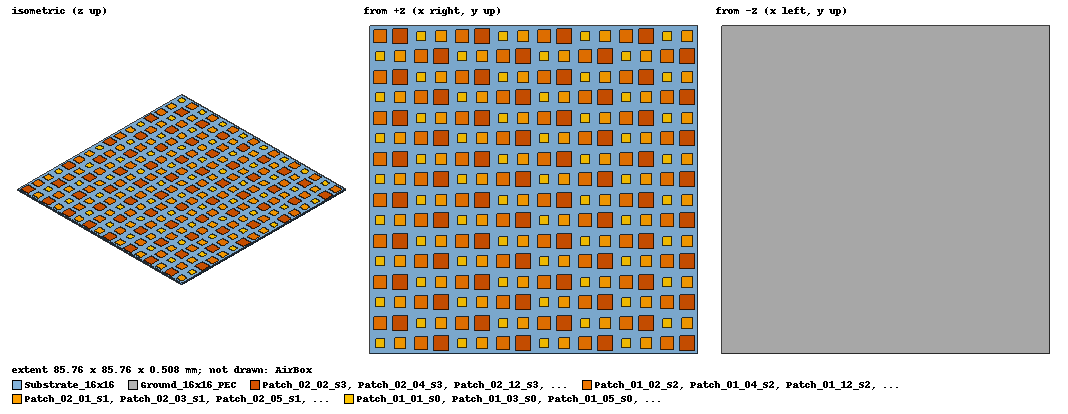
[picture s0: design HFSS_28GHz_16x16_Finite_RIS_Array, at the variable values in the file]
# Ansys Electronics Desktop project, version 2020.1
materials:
  vacuum: permittivity=1
  air: permittivity=1.0006 permeability=1.0000004
  Rogers RT/duroid 5880 (tm): permittivity=2.2 dielectric_loss_tangent=0.0009
  copper: permeability=0.999991 conductivity=58000000

design HFSS_28GHz_16x16_Finite_RIS_Array (HFSS, DrivenModal, model units mm)
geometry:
  AirBox [air] = box(corner=(-52.88mm, -52.88mm, -8.508mm), size=(105.76mm, 105.76mm, 43.508mm))
  Substrate_16x16 [Rogers RT/duroid 5880 (tm)] = box(corner=(-42.88mm, -42.88mm, -0.508mm), size=(85.76mm, 85.76mm, 0.508mm))
  Ground_16x16_PEC [copper] = rectangle(corner=(-42.88mm, -42.88mm, -0.508mm), x_size=85.76mm, y_size=85.76mm)
  Patch_01_01_S0 [copper] = rectangle(corner=(-41.425mm, -41.425mm, 0mm), x_size=2.45mm, y_size=2.45mm)
  Patch_01_02_S2 [copper] = rectangle(corner=(-41.925mm, -36.565mm, 0mm), x_size=3.45mm, y_size=3.45mm)
  Patch_01_03_S0 [copper] = rectangle(corner=(-41.425mm, -30.705mm, 0mm), x_size=2.45mm, y_size=2.45mm)
  Patch_01_04_S2 [copper] = rectangle(corner=(-41.925mm, -25.845mm, 0mm), x_size=3.45mm, y_size=3.45mm)
  Patch_01_05_S0 [copper] = rectangle(corner=(-41.425mm, -19.985mm, 0mm), x_size=2.45mm, y_size=2.45mm)
  Patch_01_06_S2 [copper] = rectangle(corner=(-41.925mm, -15.125mm, 0mm), x_size=3.45mm, y_size=3.45mm)
  Patch_01_07_S0 [copper] = rectangle(corner=(-41.425mm, -9.265mm, 0mm), x_size=2.45mm, y_size=2.45mm)
  Patch_01_08_S2 [copper] = rectangle(corner=(-41.925mm, -4.405mm, 0mm), x_size=3.45mm, y_size=3.45mm)
  Patch_01_09_S0 [copper] = rectangle(corner=(-41.425mm, 1.455mm, 0mm), x_size=2.45mm, y_size=2.45mm)
  Patch_01_10_S2 [copper] = rectangle(corner=(-41.925mm, 6.315mm, 0mm), x_size=3.45mm, y_size=3.45mm)
  Patch_01_11_S0 [copper] = rectangle(corner=(-41.425mm, 12.175mm, 0mm), x_size=2.45mm, y_size=2.45mm)
  Patch_01_12_S2 [copper] = rectangle(corner=(-41.925mm, 17.035mm, 0mm), x_size=3.45mm, y_size=3.45mm)
  Patch_01_13_S0 [copper] = rectangle(corner=(-41.425mm, 22.895mm, 0mm), x_size=2.45mm, y_size=2.45mm)
  Patch_01_14_S2 [copper] = rectangle(corner=(-41.925mm, 27.755mm, 0mm), x_size=3.45mm, y_size=3.45mm)
  Patch_01_15_S0 [copper] = rectangle(corner=(-41.425mm, 33.615mm, 0mm), x_size=2.45mm, y_size=2.45mm)
  Patch_01_16_S2 [copper] = rectangle(corner=(-41.925mm, 38.475mm, 0mm), x_size=3.45mm, y_size=3.45mm)
  Patch_02_01_S1 [copper] = rectangle(corner=(-36.315mm, -41.675mm, 0mm), x_size=2.95mm, y_size=2.95mm)
  Patch_02_02_S3 [copper] = rectangle(corner=(-36.815mm, -36.815mm, 0mm), x_size=3.95mm, y_size=3.95mm)
  Patch_02_03_S1 [copper] = rectangle(corner=(-36.315mm, -30.955mm, 0mm), x_size=2.95mm, y_size=2.95mm)
  Patch_02_04_S3 [copper] = rectangle(corner=(-36.815mm, -26.095mm, 0mm), x_size=3.95mm, y_size=3.95mm)
  Patch_02_05_S1 [copper] = rectangle(corner=(-36.315mm, -20.235mm, 0mm), x_size=2.95mm, y_size=2.95mm)
  Patch_02_06_S3 [copper] = rectangle(corner=(-36.815mm, -15.375mm, 0mm), x_size=3.95mm, y_size=3.95mm)
  Patch_02_07_S1 [copper] = rectangle(corner=(-36.315mm, -9.515mm, 0mm), x_size=2.95mm, y_size=2.95mm)
  Patch_02_08_S3 [copper] = rectangle(corner=(-36.815mm, -4.655mm, 0mm), x_size=3.95mm, y_size=3.95mm)
  Patch_02_09_S1 [copper] = rectangle(corner=(-36.315mm, 1.205mm, 0mm), x_size=2.95mm, y_size=2.95mm)
  Patch_02_10_S3 [copper] = rectangle(corner=(-36.815mm, 6.065mm, 0mm), x_size=3.95mm, y_size=3.95mm)
  Patch_02_11_S1 [copper] = rectangle(corner=(-36.315mm, 11.925mm, 0mm), x_size=2.95mm, y_size=2.95mm)
  Patch_02_12_S3 [copper] = rectangle(corner=(-36.815mm, 16.785mm, 0mm), x_size=3.95mm, y_size=3.95mm)
  Patch_02_13_S1 [copper] = rectangle(corner=(-36.315mm, 22.645mm, 0mm), x_size=2.95mm, y_size=2.95mm)
  Patch_02_14_S3 [copper] = rectangle(corner=(-36.815mm, 27.505mm, 0mm), x_size=3.95mm, y_size=3.95mm)
  Patch_02_15_S1 [copper] = rectangle(corner=(-36.315mm, 33.365mm, 0mm), x_size=2.95mm, y_size=2.95mm)
  Patch_02_16_S3 [copper] = rectangle(corner=(-36.815mm, 38.225mm, 0mm), x_size=3.95mm, y_size=3.95mm)
  Patch_03_01_S2 [copper] = rectangle(corner=(-31.205mm, -41.925mm, 0mm), x_size=3.45mm, y_size=3.45mm)
  Patch_03_02_S0 [copper] = rectangle(corner=(-30.705mm, -36.065mm, 0mm), x_size=2.45mm, y_size=2.45mm)
  Patch_03_03_S2 [copper] = rectangle(corner=(-31.205mm, -31.205mm, 0mm), x_size=3.45mm, y_size=3.45mm)
  Patch_03_04_S0 [copper] = rectangle(corner=(-30.705mm, -25.345mm, 0mm), x_size=2.45mm, y_size=2.45mm)
  Patch_03_05_S2 [copper] = rectangle(corner=(-31.205mm, -20.485mm, 0mm), x_size=3.45mm, y_size=3.45mm)
  Patch_03_06_S0 [copper] = rectangle(corner=(-30.705mm, -14.625mm, 0mm), x_size=2.45mm, y_size=2.45mm)
  Patch_03_07_S2 [copper] = rectangle(corner=(-31.205mm, -9.765mm, 0mm), x_size=3.45mm, y_size=3.45mm)
  Patch_03_08_S0 [copper] = rectangle(corner=(-30.705mm, -3.905mm, 0mm), x_size=2.45mm, y_size=2.45mm)
  Patch_03_09_S2 [copper] = rectangle(corner=(-31.205mm, 0.955mm, 0mm), x_size=3.45mm, y_size=3.45mm)
  Patch_03_10_S0 [copper] = rectangle(corner=(-30.705mm, 6.815mm, 0mm), x_size=2.45mm, y_size=2.45mm)
  Patch_03_11_S2 [copper] = rectangle(corner=(-31.205mm, 11.675mm, 0mm), x_size=3.45mm, y_size=3.45mm)
  Patch_03_12_S0 [copper] = rectangle(corner=(-30.705mm, 17.535mm, 0mm), x_size=2.45mm, y_size=2.45mm)
  Patch_03_13_S2 [copper] = rectangle(corner=(-31.205mm, 22.395mm, 0mm), x_size=3.45mm, y_size=3.45mm)
  Patch_03_14_S0 [copper] = rectangle(corner=(-30.705mm, 28.255mm, 0mm), x_size=2.45mm, y_size=2.45mm)
  Patch_03_15_S2 [copper] = rectangle(corner=(-31.205mm, 33.115mm, 0mm), x_size=3.45mm, y_size=3.45mm)
  Patch_03_16_S0 [copper] = rectangle(corner=(-30.705mm, 38.975mm, 0mm), x_size=2.45mm, y_size=2.45mm)
  Patch_04_01_S3 [copper] = rectangle(corner=(-26.095mm, -42.175mm, 0mm), x_size=3.95mm, y_size=3.95mm)
  Patch_04_02_S1 [copper] = rectangle(corner=(-25.595mm, -36.315mm, 0mm), x_size=2.95mm, y_size=2.95mm)
  Patch_04_03_S3 [copper] = rectangle(corner=(-26.095mm, -31.455mm, 0mm), x_size=3.95mm, y_size=3.95mm)
  Patch_04_04_S1 [copper] = rectangle(corner=(-25.595mm, -25.595mm, 0mm), x_size=2.95mm, y_size=2.95mm)
  Patch_04_05_S3 [copper] = rectangle(corner=(-26.095mm, -20.735mm, 0mm), x_size=3.95mm, y_size=3.95mm)
  Patch_04_06_S1 [copper] = rectangle(corner=(-25.595mm, -14.875mm, 0mm), x_size=2.95mm, y_size=2.95mm)
  Patch_04_07_S3 [copper] = rectangle(corner=(-26.095mm, -10.015mm, 0mm), x_size=3.95mm, y_size=3.95mm)
  Patch_04_08_S1 [copper] = rectangle(corner=(-25.595mm, -4.155mm, 0mm), x_size=2.95mm, y_size=2.95mm)
  Patch_04_09_S3 [copper] = rectangle(corner=(-26.095mm, 0.705mm, 0mm), x_size=3.95mm, y_size=3.95mm)
  Patch_04_10_S1 [copper] = rectangle(corner=(-25.595mm, 6.565mm, 0mm), x_size=2.95mm, y_size=2.95mm)
  Patch_04_11_S3 [copper] = rectangle(corner=(-26.095mm, 11.425mm, 0mm), x_size=3.95mm, y_size=3.95mm)
  Patch_04_12_S1 [copper] = rectangle(corner=(-25.595mm, 17.285mm, 0mm), x_size=2.95mm, y_size=2.95mm)
  Patch_04_13_S3 [copper] = rectangle(corner=(-26.095mm, 22.145mm, 0mm), x_size=3.95mm, y_size=3.95mm)
  Patch_04_14_S1 [copper] = rectangle(corner=(-25.595mm, 28.005mm, 0mm), x_size=2.95mm, y_size=2.95mm)
  Patch_04_15_S3 [copper] = rectangle(corner=(-26.095mm, 32.865mm, 0mm), x_size=3.95mm, y_size=3.95mm)
  Patch_04_16_S1 [copper] = rectangle(corner=(-25.595mm, 38.725mm, 0mm), x_size=2.95mm, y_size=2.95mm)
  Patch_05_01_S0 [copper] = rectangle(corner=(-19.985mm, -41.425mm, 0mm), x_size=2.45mm, y_size=2.45mm)
  Patch_05_02_S2 [copper] = rectangle(corner=(-20.485mm, -36.565mm, 0mm), x_size=3.45mm, y_size=3.45mm)
  Patch_05_03_S0 [copper] = rectangle(corner=(-19.985mm, -30.705mm, 0mm), x_size=2.45mm, y_size=2.45mm)
  Patch_05_04_S2 [copper] = rectangle(corner=(-20.485mm, -25.845mm, 0mm), x_size=3.45mm, y_size=3.45mm)
  Patch_05_05_S0 [copper] = rectangle(corner=(-19.985mm, -19.985mm, 0mm), x_size=2.45mm, y_size=2.45mm)
  Patch_05_06_S2 [copper] = rectangle(corner=(-20.485mm, -15.125mm, 0mm), x_size=3.45mm, y_size=3.45mm)
  Patch_05_07_S0 [copper] = rectangle(corner=(-19.985mm, -9.265mm, 0mm), x_size=2.45mm, y_size=2.45mm)
  Patch_05_08_S2 [copper] = rectangle(corner=(-20.485mm, -4.405mm, 0mm), x_size=3.45mm, y_size=3.45mm)
  Patch_05_09_S0 [copper] = rectangle(corner=(-19.985mm, 1.455mm, 0mm), x_size=2.45mm, y_size=2.45mm)
  Patch_05_10_S2 [copper] = rectangle(corner=(-20.485mm, 6.315mm, 0mm), x_size=3.45mm, y_size=3.45mm)
  Patch_05_11_S0 [copper] = rectangle(corner=(-19.985mm, 12.175mm, 0mm), x_size=2.45mm, y_size=2.45mm)
  Patch_05_12_S2 [copper] = rectangle(corner=(-20.485mm, 17.035mm, 0mm), x_size=3.45mm, y_size=3.45mm)
  Patch_05_13_S0 [copper] = rectangle(corner=(-19.985mm, 22.895mm, 0mm), x_size=2.45mm, y_size=2.45mm)
  Patch_05_14_S2 [copper] = rectangle(corner=(-20.485mm, 27.755mm, 0mm), x_size=3.45mm, y_size=3.45mm)
  Patch_05_15_S0 [copper] = rectangle(corner=(-19.985mm, 33.615mm, 0mm), x_size=2.45mm, y_size=2.45mm)
  Patch_05_16_S2 [copper] = rectangle(corner=(-20.485mm, 38.475mm, 0mm), x_size=3.45mm, y_size=3.45mm)
  Patch_06_01_S1 [copper] = rectangle(corner=(-14.875mm, -41.675mm, 0mm), x_size=2.95mm, y_size=2.95mm)
  Patch_06_02_S3 [copper] = rectangle(corner=(-15.375mm, -36.815mm, 0mm), x_size=3.95mm, y_size=3.95mm)
  Patch_06_03_S1 [copper] = rectangle(corner=(-14.875mm, -30.955mm, 0mm), x_size=2.95mm, y_size=2.95mm)
  Patch_06_04_S3 [copper] = rectangle(corner=(-15.375mm, -26.095mm, 0mm), x_size=3.95mm, y_size=3.95mm)
  Patch_06_05_S1 [copper] = rectangle(corner=(-14.875mm, -20.235mm, 0mm), x_size=2.95mm, y_size=2.95mm)
  Patch_06_06_S3 [copper] = rectangle(corner=(-15.375mm, -15.375mm, 0mm), x_size=3.95mm, y_size=3.95mm)
  Patch_06_07_S1 [copper] = rectangle(corner=(-14.875mm, -9.515mm, 0mm), x_size=2.95mm, y_size=2.95mm)
  Patch_06_08_S3 [copper] = rectangle(corner=(-15.375mm, -4.655mm, 0mm), x_size=3.95mm, y_size=3.95mm)
  Patch_06_09_S1 [copper] = rectangle(corner=(-14.875mm, 1.205mm, 0mm), x_size=2.95mm, y_size=2.95mm)
  Patch_06_10_S3 [copper] = rectangle(corner=(-15.375mm, 6.065mm, 0mm), x_size=3.95mm, y_size=3.95mm)
  Patch_06_11_S1 [copper] = rectangle(corner=(-14.875mm, 11.925mm, 0mm), x_size=2.95mm, y_size=2.95mm)
  Patch_06_12_S3 [copper] = rectangle(corner=(-15.375mm, 16.785mm, 0mm), x_size=3.95mm, y_size=3.95mm)
  Patch_06_13_S1 [copper] = rectangle(corner=(-14.875mm, 22.645mm, 0mm), x_size=2.95mm, y_size=2.95mm)
  Patch_06_14_S3 [copper] = rectangle(corner=(-15.375mm, 27.505mm, 0mm), x_size=3.95mm, y_size=3.95mm)
  Patch_06_15_S1 [copper] = rectangle(corner=(-14.875mm, 33.365mm, 0mm), x_size=2.95mm, y_size=2.95mm)
  Patch_06_16_S3 [copper] = rectangle(corner=(-15.375mm, 38.225mm, 0mm), x_size=3.95mm, y_size=3.95mm)
  Patch_07_01_S2 [copper] = rectangle(corner=(-9.765mm, -41.925mm, 0mm), x_size=3.45mm, y_size=3.45mm)
  Patch_07_02_S0 [copper] = rectangle(corner=(-9.265mm, -36.065mm, 0mm), x_size=2.45mm, y_size=2.45mm)
  Patch_07_03_S2 [copper] = rectangle(corner=(-9.765mm, -31.205mm, 0mm), x_size=3.45mm, y_size=3.45mm)
  Patch_07_04_S0 [copper] = rectangle(corner=(-9.265mm, -25.345mm, 0mm), x_size=2.45mm, y_size=2.45mm)
  Patch_07_05_S2 [copper] = rectangle(corner=(-9.765mm, -20.485mm, 0mm), x_size=3.45mm, y_size=3.45mm)
  Patch_07_06_S0 [copper] = rectangle(corner=(-9.265mm, -14.625mm, 0mm), x_size=2.45mm, y_size=2.45mm)
  Patch_07_07_S2 [copper] = rectangle(corner=(-9.765mm, -9.765mm, 0mm), x_size=3.45mm, y_size=3.45mm)
  Patch_07_08_S0 [copper] = rectangle(corner=(-9.265mm, -3.905mm, 0mm), x_size=2.45mm, y_size=2.45mm)
  Patch_07_09_S2 [copper] = rectangle(corner=(-9.765mm, 0.955mm, 0mm), x_size=3.45mm, y_size=3.45mm)
  Patch_07_10_S0 [copper] = rectangle(corner=(-9.265mm, 6.815mm, 0mm), x_size=2.45mm, y_size=2.45mm)
  Patch_07_11_S2 [copper] = rectangle(corner=(-9.765mm, 11.675mm, 0mm), x_size=3.45mm, y_size=3.45mm)
  Patch_07_12_S0 [copper] = rectangle(corner=(-9.265mm, 17.535mm, 0mm), x_size=2.45mm, y_size=2.45mm)
  Patch_07_13_S2 [copper] = rectangle(corner=(-9.765mm, 22.395mm, 0mm), x_size=3.45mm, y_size=3.45mm)
  Patch_07_14_S0 [copper] = rectangle(corner=(-9.265mm, 28.255mm, 0mm), x_size=2.45mm, y_size=2.45mm)
  Patch_07_15_S2 [copper] = rectangle(corner=(-9.765mm, 33.115mm, 0mm), x_size=3.45mm, y_size=3.45mm)
  Patch_07_16_S0 [copper] = rectangle(corner=(-9.265mm, 38.975mm, 0mm), x_size=2.45mm, y_size=2.45mm)
  Patch_08_01_S3 [copper] = rectangle(corner=(-4.655mm, -42.175mm, 0mm), x_size=3.95mm, y_size=3.95mm)
  Patch_08_02_S1 [copper] = rectangle(corner=(-4.155mm, -36.315mm, 0mm), x_size=2.95mm, y_size=2.95mm)
  Patch_08_03_S3 [copper] = rectangle(corner=(-4.655mm, -31.455mm, 0mm), x_size=3.95mm, y_size=3.95mm)
  Patch_08_04_S1 [copper] = rectangle(corner=(-4.155mm, -25.595mm, 0mm), x_size=2.95mm, y_size=2.95mm)
  Patch_08_05_S3 [copper] = rectangle(corner=(-4.655mm, -20.735mm, 0mm), x_size=3.95mm, y_size=3.95mm)
  Patch_08_06_S1 [copper] = rectangle(corner=(-4.155mm, -14.875mm, 0mm), x_size=2.95mm, y_size=2.95mm)
  Patch_08_07_S3 [copper] = rectangle(corner=(-4.655mm, -10.015mm, 0mm), x_size=3.95mm, y_size=3.95mm)
  Patch_08_08_S1 [copper] = rectangle(corner=(-4.155mm, -4.155mm, 0mm), x_size=2.95mm, y_size=2.95mm)
  Patch_08_09_S3 [copper] = rectangle(corner=(-4.655mm, 0.705mm, 0mm), x_size=3.95mm, y_size=3.95mm)
  Patch_08_10_S1 [copper] = rectangle(corner=(-4.155mm, 6.565mm, 0mm), x_size=2.95mm, y_size=2.95mm)
  Patch_08_11_S3 [copper] = rectangle(corner=(-4.655mm, 11.425mm, 0mm), x_size=3.95mm, y_size=3.95mm)
  Patch_08_12_S1 [copper] = rectangle(corner=(-4.155mm, 17.285mm, 0mm), x_size=2.95mm, y_size=2.95mm)
  Patch_08_13_S3 [copper] = rectangle(corner=(-4.655mm, 22.145mm, 0mm), x_size=3.95mm, y_size=3.95mm)
  Patch_08_14_S1 [copper] = rectangle(corner=(-4.155mm, 28.005mm, 0mm), x_size=2.95mm, y_size=2.95mm)
  Patch_08_15_S3 [copper] = rectangle(corner=(-4.655mm, 32.865mm, 0mm), x_size=3.95mm, y_size=3.95mm)
  Patch_08_16_S1 [copper] = rectangle(corner=(-4.155mm, 38.725mm, 0mm), x_size=2.95mm, y_size=2.95mm)
  Patch_09_01_S0 [copper] = rectangle(corner=(1.455mm, -41.425mm, 0mm), x_size=2.45mm, y_size=2.45mm)
  Patch_09_02_S2 [copper] = rectangle(corner=(0.955mm, -36.565mm, 0mm), x_size=3.45mm, y_size=3.45mm)
  Patch_09_03_S0 [copper] = rectangle(corner=(1.455mm, -30.705mm, 0mm), x_size=2.45mm, y_size=2.45mm)
  Patch_09_04_S2 [copper] = rectangle(corner=(0.955mm, -25.845mm, 0mm), x_size=3.45mm, y_size=3.45mm)
  Patch_09_05_S0 [copper] = rectangle(corner=(1.455mm, -19.985mm, 0mm), x_size=2.45mm, y_size=2.45mm)
  Patch_09_06_S2 [copper] = rectangle(corner=(0.955mm, -15.125mm, 0mm), x_size=3.45mm, y_size=3.45mm)
  Patch_09_07_S0 [copper] = rectangle(corner=(1.455mm, -9.265mm, 0mm), x_size=2.45mm, y_size=2.45mm)
  Patch_09_08_S2 [copper] = rectangle(corner=(0.955mm, -4.405mm, 0mm), x_size=3.45mm, y_size=3.45mm)
  Patch_09_09_S0 [copper] = rectangle(corner=(1.455mm, 1.455mm, 0mm), x_size=2.45mm, y_size=2.45mm)
  Patch_09_10_S2 [copper] = rectangle(corner=(0.955mm, 6.315mm, 0mm), x_size=3.45mm, y_size=3.45mm)
  Patch_09_11_S0 [copper] = rectangle(corner=(1.455mm, 12.175mm, 0mm), x_size=2.45mm, y_size=2.45mm)
  Patch_09_12_S2 [copper] = rectangle(corner=(0.955mm, 17.035mm, 0mm), x_size=3.45mm, y_size=3.45mm)
  Patch_09_13_S0 [copper] = rectangle(corner=(1.455mm, 22.895mm, 0mm), x_size=2.45mm, y_size=2.45mm)
  Patch_09_14_S2 [copper] = rectangle(corner=(0.955mm, 27.755mm, 0mm), x_size=3.45mm, y_size=3.45mm)
  Patch_09_15_S0 [copper] = rectangle(corner=(1.455mm, 33.615mm, 0mm), x_size=2.45mm, y_size=2.45mm)
  Patch_09_16_S2 [copper] = rectangle(corner=(0.955mm, 38.475mm, 0mm), x_size=3.45mm, y_size=3.45mm)
  Patch_10_01_S1 [copper] = rectangle(corner=(6.565mm, -41.675mm, 0mm), x_size=2.95mm, y_size=2.95mm)
  Patch_10_02_S3 [copper] = rectangle(corner=(6.065mm, -36.815mm, 0mm), x_size=3.95mm, y_size=3.95mm)
  Patch_10_03_S1 [copper] = rectangle(corner=(6.565mm, -30.955mm, 0mm), x_size=2.95mm, y_size=2.95mm)
  Patch_10_04_S3 [copper] = rectangle(corner=(6.065mm, -26.095mm, 0mm), x_size=3.95mm, y_size=3.95mm)
  Patch_10_05_S1 [copper] = rectangle(corner=(6.565mm, -20.235mm, 0mm), x_size=2.95mm, y_size=2.95mm)
  Patch_10_06_S3 [copper] = rectangle(corner=(6.065mm, -15.375mm, 0mm), x_size=3.95mm, y_size=3.95mm)
  Patch_10_07_S1 [copper] = rectangle(corner=(6.565mm, -9.515mm, 0mm), x_size=2.95mm, y_size=2.95mm)
  Patch_10_08_S3 [copper] = rectangle(corner=(6.065mm, -4.655mm, 0mm), x_size=3.95mm, y_size=3.95mm)
  Patch_10_09_S1 [copper] = rectangle(corner=(6.565mm, 1.205mm, 0mm), x_size=2.95mm, y_size=2.95mm)
  Patch_10_10_S3 [copper] = rectangle(corner=(6.065mm, 6.065mm, 0mm), x_size=3.95mm, y_size=3.95mm)
  Patch_10_11_S1 [copper] = rectangle(corner=(6.565mm, 11.925mm, 0mm), x_size=2.95mm, y_size=2.95mm)
  Patch_10_12_S3 [copper] = rectangle(corner=(6.065mm, 16.785mm, 0mm), x_size=3.95mm, y_size=3.95mm)
  Patch_10_13_S1 [copper] = rectangle(corner=(6.565mm, 22.645mm, 0mm), x_size=2.95mm, y_size=2.95mm)
  Patch_10_14_S3 [copper] = rectangle(corner=(6.065mm, 27.505mm, 0mm), x_size=3.95mm, y_size=3.95mm)
  Patch_10_15_S1 [copper] = rectangle(corner=(6.565mm, 33.365mm, 0mm), x_size=2.95mm, y_size=2.95mm)
  Patch_10_16_S3 [copper] = rectangle(corner=(6.065mm, 38.225mm, 0mm), x_size=3.95mm, y_size=3.95mm)
  Patch_11_01_S2 [copper] = rectangle(corner=(11.675mm, -41.925mm, 0mm), x_size=3.45mm, y_size=3.45mm)
  Patch_11_02_S0 [copper] = rectangle(corner=(12.175mm, -36.065mm, 0mm), x_size=2.45mm, y_size=2.45mm)
  Patch_11_03_S2 [copper] = rectangle(corner=(11.675mm, -31.205mm, 0mm), x_size=3.45mm, y_size=3.45mm)
  Patch_11_04_S0 [copper] = rectangle(corner=(12.175mm, -25.345mm, 0mm), x_size=2.45mm, y_size=2.45mm)
  Patch_11_05_S2 [copper] = rectangle(corner=(11.675mm, -20.485mm, 0mm), x_size=3.45mm, y_size=3.45mm)
  Patch_11_06_S0 [copper] = rectangle(corner=(12.175mm, -14.625mm, 0mm), x_size=2.45mm, y_size=2.45mm)
  Patch_11_07_S2 [copper] = rectangle(corner=(11.675mm, -9.765mm, 0mm), x_size=3.45mm, y_size=3.45mm)
  Patch_11_08_S0 [copper] = rectangle(corner=(12.175mm, -3.905mm, 0mm), x_size=2.45mm, y_size=2.45mm)
  Patch_11_09_S2 [copper] = rectangle(corner=(11.675mm, 0.955mm, 0mm), x_size=3.45mm, y_size=3.45mm)
  Patch_11_10_S0 [copper] = rectangle(corner=(12.175mm, 6.815mm, 0mm), x_size=2.45mm, y_size=2.45mm)
  Patch_11_11_S2 [copper] = rectangle(corner=(11.675mm, 11.675mm, 0mm), x_size=3.45mm, y_size=3.45mm)
  Patch_11_12_S0 [copper] = rectangle(corner=(12.175mm, 17.535mm, 0mm), x_size=2.45mm, y_size=2.45mm)
  Patch_11_13_S2 [copper] = rectangle(corner=(11.675mm, 22.395mm, 0mm), x_size=3.45mm, y_size=3.45mm)
  Patch_11_14_S0 [copper] = rectangle(corner=(12.175mm, 28.255mm, 0mm), x_size=2.45mm, y_size=2.45mm)
  Patch_11_15_S2 [copper] = rectangle(corner=(11.675mm, 33.115mm, 0mm), x_size=3.45mm, y_size=3.45mm)
  Patch_11_16_S0 [copper] = rectangle(corner=(12.175mm, 38.975mm, 0mm), x_size=2.45mm, y_size=2.45mm)
  Patch_12_01_S3 [copper] = rectangle(corner=(16.785mm, -42.175mm, 0mm), x_size=3.95mm, y_size=3.95mm)
  Patch_12_02_S1 [copper] = rectangle(corner=(17.285mm, -36.315mm, 0mm), x_size=2.95mm, y_size=2.95mm)
  Patch_12_03_S3 [copper] = rectangle(corner=(16.785mm, -31.455mm, 0mm), x_size=3.95mm, y_size=3.95mm)
  Patch_12_04_S1 [copper] = rectangle(corner=(17.285mm, -25.595mm, 0mm), x_size=2.95mm, y_size=2.95mm)
  Patch_12_05_S3 [copper] = rectangle(corner=(16.785mm, -20.735mm, 0mm), x_size=3.95mm, y_size=3.95mm)
  Patch_12_06_S1 [copper] = rectangle(corner=(17.285mm, -14.875mm, 0mm), x_size=2.95mm, y_size=2.95mm)
  Patch_12_07_S3 [copper] = rectangle(corner=(16.785mm, -10.015mm, 0mm), x_size=3.95mm, y_size=3.95mm)
  Patch_12_08_S1 [copper] = rectangle(corner=(17.285mm, -4.155mm, 0mm), x_size=2.95mm, y_size=2.95mm)
  Patch_12_09_S3 [copper] = rectangle(corner=(16.785mm, 0.705mm, 0mm), x_size=3.95mm, y_size=3.95mm)
  Patch_12_10_S1 [copper] = rectangle(corner=(17.285mm, 6.565mm, 0mm), x_size=2.95mm, y_size=2.95mm)
  Patch_12_11_S3 [copper] = rectangle(corner=(16.785mm, 11.425mm, 0mm), x_size=3.95mm, y_size=3.95mm)
  Patch_12_12_S1 [copper] = rectangle(corner=(17.285mm, 17.285mm, 0mm), x_size=2.95mm, y_size=2.95mm)
  Patch_12_13_S3 [copper] = rectangle(corner=(16.785mm, 22.145mm, 0mm), x_size=3.95mm, y_size=3.95mm)
  Patch_12_14_S1 [copper] = rectangle(corner=(17.285mm, 28.005mm, 0mm), x_size=2.95mm, y_size=2.95mm)
  Patch_12_15_S3 [copper] = rectangle(corner=(16.785mm, 32.865mm, 0mm), x_size=3.95mm, y_size=3.95mm)
  Patch_12_16_S1 [copper] = rectangle(corner=(17.285mm, 38.725mm, 0mm), x_size=2.95mm, y_size=2.95mm)
  Patch_13_01_S0 [copper] = rectangle(corner=(22.895mm, -41.425mm, 0mm), x_size=2.45mm, y_size=2.45mm)
  Patch_13_02_S2 [copper] = rectangle(corner=(22.395mm, -36.565mm, 0mm), x_size=3.45mm, y_size=3.45mm)
  Patch_13_03_S0 [copper] = rectangle(corner=(22.895mm, -30.705mm, 0mm), x_size=2.45mm, y_size=2.45mm)
  Patch_13_04_S2 [copper] = rectangle(corner=(22.395mm, -25.845mm, 0mm), x_size=3.45mm, y_size=3.45mm)
  Patch_13_05_S0 [copper] = rectangle(corner=(22.895mm, -19.985mm, 0mm), x_size=2.45mm, y_size=2.45mm)
  Patch_13_06_S2 [copper] = rectangle(corner=(22.395mm, -15.125mm, 0mm), x_size=3.45mm, y_size=3.45mm)
  Patch_13_07_S0 [copper] = rectangle(corner=(22.895mm, -9.265mm, 0mm), x_size=2.45mm, y_size=2.45mm)
  Patch_13_08_S2 [copper] = rectangle(corner=(22.395mm, -4.405mm, 0mm), x_size=3.45mm, y_size=3.45mm)
  Patch_13_09_S0 [copper] = rectangle(corner=(22.895mm, 1.455mm, 0mm), x_size=2.45mm, y_size=2.45mm)
  Patch_13_10_S2 [copper] = rectangle(corner=(22.395mm, 6.315mm, 0mm), x_size=3.45mm, y_size=3.45mm)
  Patch_13_11_S0 [copper] = rectangle(corner=(22.895mm, 12.175mm, 0mm), x_size=2.45mm, y_size=2.45mm)
  Patch_13_12_S2 [copper] = rectangle(corner=(22.395mm, 17.035mm, 0mm), x_size=3.45mm, y_size=3.45mm)
  Patch_13_13_S0 [copper] = rectangle(corner=(22.895mm, 22.895mm, 0mm), x_size=2.45mm, y_size=2.45mm)
  Patch_13_14_S2 [copper] = rectangle(corner=(22.395mm, 27.755mm, 0mm), x_size=3.45mm, y_size=3.45mm)
  Patch_13_15_S0 [copper] = rectangle(corner=(22.895mm, 33.615mm, 0mm), x_size=2.45mm, y_size=2.45mm)
  Patch_13_16_S2 [copper] = rectangle(corner=(22.395mm, 38.475mm, 0mm), x_size=3.45mm, y_size=3.45mm)
  Patch_14_01_S1 [copper] = rectangle(corner=(28.005mm, -41.675mm, 0mm), x_size=2.95mm, y_size=2.95mm)
  Patch_14_02_S3 [copper] = rectangle(corner=(27.505mm, -36.815mm, 0mm), x_size=3.95mm, y_size=3.95mm)
  Patch_14_03_S1 [copper] = rectangle(corner=(28.005mm, -30.955mm, 0mm), x_size=2.95mm, y_size=2.95mm)
  Patch_14_04_S3 [copper] = rectangle(corner=(27.505mm, -26.095mm, 0mm), x_size=3.95mm, y_size=3.95mm)
  Patch_14_05_S1 [copper] = rectangle(corner=(28.005mm, -20.235mm, 0mm), x_size=2.95mm, y_size=2.95mm)
  Patch_14_06_S3 [copper] = rectangle(corner=(27.505mm, -15.375mm, 0mm), x_size=3.95mm, y_size=3.95mm)
  Patch_14_07_S1 [copper] = rectangle(corner=(28.005mm, -9.515mm, 0mm), x_size=2.95mm, y_size=2.95mm)
  Patch_14_08_S3 [copper] = rectangle(corner=(27.505mm, -4.655mm, 0mm), x_size=3.95mm, y_size=3.95mm)
  Patch_14_09_S1 [copper] = rectangle(corner=(28.005mm, 1.205mm, 0mm), x_size=2.95mm, y_size=2.95mm)
  Patch_14_10_S3 [copper] = rectangle(corner=(27.505mm, 6.065mm, 0mm), x_size=3.95mm, y_size=3.95mm)
  Patch_14_11_S1 [copper] = rectangle(corner=(28.005mm, 11.925mm, 0mm), x_size=2.95mm, y_size=2.95mm)
  Patch_14_12_S3 [copper] = rectangle(corner=(27.505mm, 16.785mm, 0mm), x_size=3.95mm, y_size=3.95mm)
  Patch_14_13_S1 [copper] = rectangle(corner=(28.005mm, 22.645mm, 0mm), x_size=2.95mm, y_size=2.95mm)
  Patch_14_14_S3 [copper] = rectangle(corner=(27.505mm, 27.505mm, 0mm), x_size=3.95mm, y_size=3.95mm)
  Patch_14_15_S1 [copper] = rectangle(corner=(28.005mm, 33.365mm, 0mm), x_size=2.95mm, y_size=2.95mm)
  Patch_14_16_S3 [copper] = rectangle(corner=(27.505mm, 38.225mm, 0mm), x_size=3.95mm, y_size=3.95mm)
  Patch_15_01_S2 [copper] = rectangle(corner=(33.115mm, -41.925mm, 0mm), x_size=3.45mm, y_size=3.45mm)
  Patch_15_02_S0 [copper] = rectangle(corner=(33.615mm, -36.065mm, 0mm), x_size=2.45mm, y_size=2.45mm)
  Patch_15_03_S2 [copper] = rectangle(corner=(33.115mm, -31.205mm, 0mm), x_size=3.45mm, y_size=3.45mm)
  Patch_15_04_S0 [copper] = rectangle(corner=(33.615mm, -25.345mm, 0mm), x_size=2.45mm, y_size=2.45mm)
  Patch_15_05_S2 [copper] = rectangle(corner=(33.115mm, -20.485mm, 0mm), x_size=3.45mm, y_size=3.45mm)
  Patch_15_06_S0 [copper] = rectangle(corner=(33.615mm, -14.625mm, 0mm), x_size=2.45mm, y_size=2.45mm)
  Patch_15_07_S2 [copper] = rectangle(corner=(33.115mm, -9.765mm, 0mm), x_size=3.45mm, y_size=3.45mm)
  Patch_15_08_S0 [copper] = rectangle(corner=(33.615mm, -3.905mm, 0mm), x_size=2.45mm, y_size=2.45mm)
  Patch_15_09_S2 [copper] = rectangle(corner=(33.115mm, 0.955mm, 0mm), x_size=3.45mm, y_size=3.45mm)
  Patch_15_10_S0 [copper] = rectangle(corner=(33.615mm, 6.815mm, 0mm), x_size=2.45mm, y_size=2.45mm)
  Patch_15_11_S2 [copper] = rectangle(corner=(33.115mm, 11.675mm, 0mm), x_size=3.45mm, y_size=3.45mm)
  Patch_15_12_S0 [copper] = rectangle(corner=(33.615mm, 17.535mm, 0mm), x_size=2.45mm, y_size=2.45mm)
  Patch_15_13_S2 [copper] = rectangle(corner=(33.115mm, 22.395mm, 0mm), x_size=3.45mm, y_size=3.45mm)
  Patch_15_14_S0 [copper] = rectangle(corner=(33.615mm, 28.255mm, 0mm), x_size=2.45mm, y_size=2.45mm)
  Patch_15_15_S2 [copper] = rectangle(corner=(33.115mm, 33.115mm, 0mm), x_size=3.45mm, y_size=3.45mm)
  Patch_15_16_S0 [copper] = rectangle(corner=(33.615mm, 38.975mm, 0mm), x_size=2.45mm, y_size=2.45mm)
  Patch_16_01_S3 [copper] = rectangle(corner=(38.225mm, -42.175mm, 0mm), x_size=3.95mm, y_size=3.95mm)
  Patch_16_02_S1 [copper] = rectangle(corner=(38.725mm, -36.315mm, 0mm), x_size=2.95mm, y_size=2.95mm)
  Patch_16_03_S3 [copper] = rectangle(corner=(38.225mm, -31.455mm, 0mm), x_size=3.95mm, y_size=3.95mm)
  Patch_16_04_S1 [copper] = rectangle(corner=(38.725mm, -25.595mm, 0mm), x_size=2.95mm, y_size=2.95mm)
  Patch_16_05_S3 [copper] = rectangle(corner=(38.225mm, -20.735mm, 0mm), x_size=3.95mm, y_size=3.95mm)
  Patch_16_06_S1 [copper] = rectangle(corner=(38.725mm, -14.875mm, 0mm), x_size=2.95mm, y_size=2.95mm)
  Patch_16_07_S3 [copper] = rectangle(corner=(38.225mm, -10.015mm, 0mm), x_size=3.95mm, y_size=3.95mm)
  Patch_16_08_S1 [copper] = rectangle(corner=(38.725mm, -4.155mm, 0mm), x_size=2.95mm, y_size=2.95mm)
  Patch_16_09_S3 [copper] = rectangle(corner=(38.225mm, 0.705mm, 0mm), x_size=3.95mm, y_size=3.95mm)
  Patch_16_10_S1 [copper] = rectangle(corner=(38.725mm, 6.565mm, 0mm), x_size=2.95mm, y_size=2.95mm)
  Patch_16_11_S3 [copper] = rectangle(corner=(38.225mm, 11.425mm, 0mm), x_size=3.95mm, y_size=3.95mm)
  Patch_16_12_S1 [copper] = rectangle(corner=(38.725mm, 17.285mm, 0mm), x_size=2.95mm, y_size=2.95mm)
  Patch_16_13_S3 [copper] = rectangle(corner=(38.225mm, 22.145mm, 0mm), x_size=3.95mm, y_size=3.95mm)
  Patch_16_14_S1 [copper] = rectangle(corner=(38.725mm, 28.005mm, 0mm), x_size=2.95mm, y_size=2.95mm)
  Patch_16_15_S3 [copper] = rectangle(corner=(38.225mm, 32.865mm, 0mm), x_size=3.95mm, y_size=3.95mm)
  Patch_16_16_S1 [copper] = rectangle(corner=(38.725mm, 38.725mm, 0mm), x_size=2.95mm, y_size=2.95mm)
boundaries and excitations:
  PEC_RIS_Metals: Perfect E Objects=[Ground_16x16_PEC, Patch_01_01_S0, Patch_01_02_S2, Patch_01_03_S0, Patch_01_04_S2, Patch_01_05_S0, Patch_01_06_S2, Patch_01_07_S0, Patch_01_08_S2, Patch_01_09_S0, Patch_01_10_S2, Patch_01_11_S0, Patch_01_12_S2, Patch_01_13_S0, Patch_01_14_S2, Patch_01_15_S0, Patch_01_16_S2, Patch_02_01_S1, Patch_02_02_S3, Patch_02_03_S1, Patch_02_04_S3, Patch_02_05_S1, Patch_02_06_S3, Patch_02_07_S1, Patch_02_08_S3, Patch_02_09_S1, Patch_02_10_S3, Patch_02_11_S1, Patch_02_12_S3, Patch_02_13_S1, Patch_02_14_S3, Patch_02_15_S1, Patch_02_16_S3, Patch_03_01_S2, Patch_03_02_S0, Patch_03_03_S2, Patch_03_04_S0, Patch_03_05_S2, Patch_03_06_S0, Patch_03_07_S2, Patch_03_08_S0, Patch_03_09_S2, Patch_03_10_S0, Patch_03_11_S2, Patch_03_12_S0, Patch_03_13_S2, Patch_03_14_S0, Patch_03_15_S2, Patch_03_16_S0, Patch_04_01_S3, Patch_04_02_S1, Patch_04_03_S3, Patch_04_04_S1, Patch_04_05_S3, Patch_04_06_S1, Patch_04_07_S3, Patch_04_08_S1, Patch_04_09_S3, Patch_04_10_S1, Patch_04_11_S3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]
  Rad_AirBox: Radiation Objects=AirBox
  PW_Normal_Incidence: Plane Incident Wave Objects=AirBox IsCartesian EoX=1V_per_meter EoY=0V_per_meter EoZ=0V_per_meter kX=0 kY=0 kZ=-1 OriginX=0mm OriginY=0mm OriginZ=17.5mm IsPropagating
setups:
  Setup1: HfssDriven Frequency=28GHz MaxDeltaE=0.1 MaximumPasses=2 MinimumPasses=1 MinimumConvergedPasses=1 PercentRefinement=10 BasisOrder=1
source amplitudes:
  PW_Normal_Incidence:1: 1 0deg
